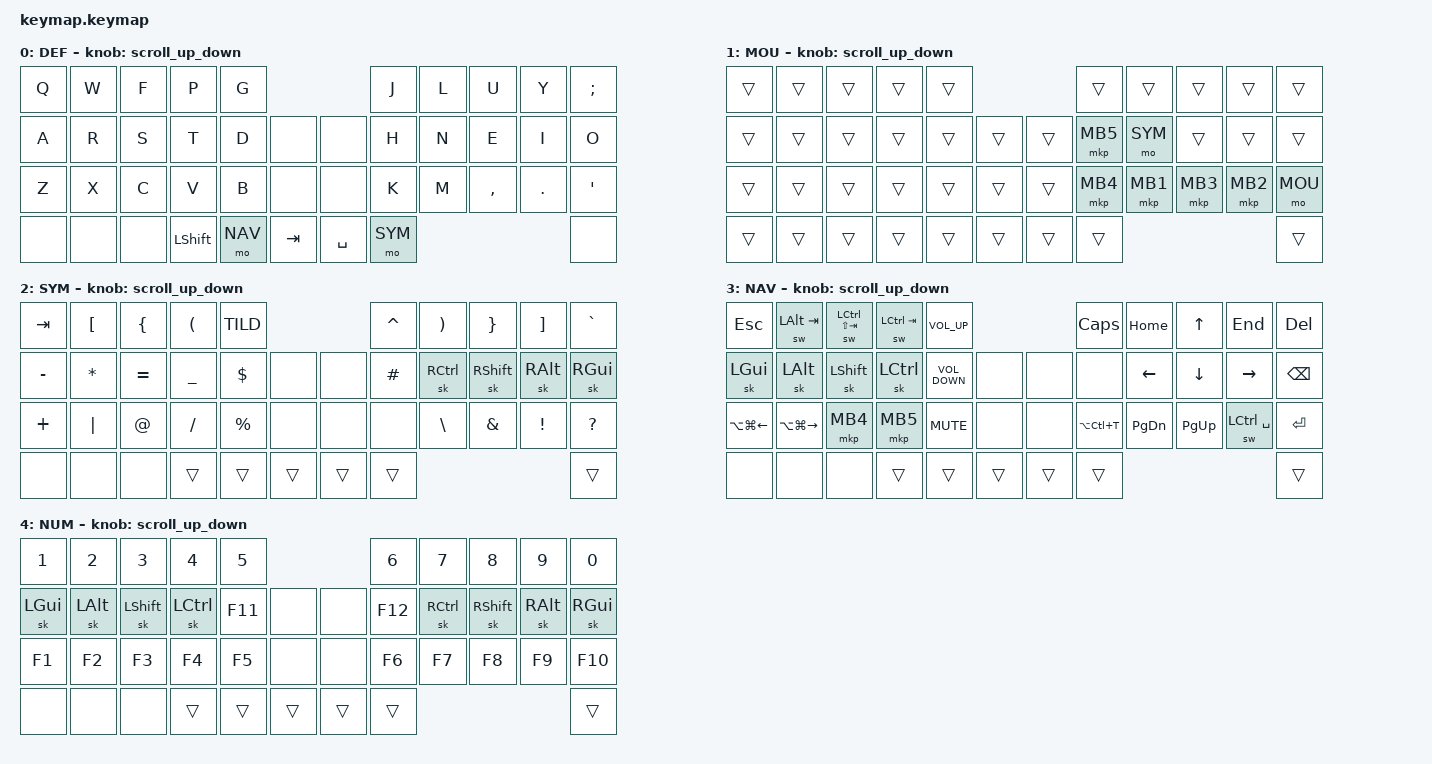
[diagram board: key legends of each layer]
#include <behaviors.dtsi>
#include <behaviors/swapper.dtsi>
#include <dt-bindings/zmk/bt.h>
#include <dt-bindings/zmk/keys.h>
#define ZMK_POINTING_DEFAULT_SCRL_VAL 100
#include <dt-bindings/zmk/pointing.h>
#include <dt-bindings/zmk/mouse.h>

#define DEF 0
#define MOU 1
#define SYM 2
#define NAV 3
#define NUM 4

/ {
    behaviors {
        scroll_up_down: behavior_sensor_rotate_mouse_wheel_up_down {
            compatible = "zmk,behavior-sensor-rotate";
            #sensor-binding-cells = <0>;
            bindings = <&msc SCRL_DOWN>, <&msc SCRL_UP>;
            tap-ms = <20>;
        };
    };

    keymap {
        compatible = "zmk,keymap";

        DEF {
            bindings = <
&kp Q       &kp W    &kp F             &kp P         &kp G                                                      &kp J          &kp L  &kp U      &kp Y       &kp SEMICOLON
&kp A       &kp R    &kp S             &kp T         &kp D         &none                 &none                  &kp H          &kp N  &kp E      &kp I       &kp O
&kp Z       &kp X    &kp C             &kp V         &kp B         &none                 &none                  &kp K          &kp M  &kp COMMA  &kp PERIOD  &kp SINGLE_QUOTE
&none       &none    &none             &kp LSHFT     &mo NAV       &kp TAB               &kp SPACE              &mo SYM                                      &none
            >;

            sensor-bindings = <&scroll_up_down>;
        };

        MOU { 
            bindings = <
&trans       &trans    &trans            &trans          &trans                                                        &trans          &trans        &trans      &trans          &trans
&trans       &trans    &trans            &trans          &trans         &trans                  &trans                 &mkp MB5        &mo SYM       &trans      &trans          &trans
&trans       &trans    &trans            &trans          &trans         &trans                  &trans                 &mkp MB4        &mkp MB1      &mkp MB3    &mkp MB2        &mo MOU
&trans       &trans    &trans            &trans          &trans         &trans                  &trans                 &trans                                                    &trans
            >;
            sensor-bindings = <&scroll_up_down>;
        };

        SYM {
            bindings = <
&kp TAB          &kp LBKT       &kp LBRC     &kp LPRN     &kp TILD                                           &kp CARET       &kp RPRN      &kp RBRC              &kp RBKT               &kp GRAVE
&kp MINUS        &kp ASTERISK   &kp EQUAL    &kp UNDER    &kp DLLR      &none             &none              &kp HASH        &sk RCTRL     &sk RSHFT             &sk RALT               &sk RGUI
&kp PLUS         &kp PIPE       &kp AT       &kp SLASH    &kp PERCENT   &none             &none              &none           &kp BACKSLASH &kp AMPERSAND         &kp EXCLAMATION        &kp QUESTION 
&none            &none          &none        &trans       &trans        &trans            &trans             &trans                                                                     &trans
            >;

            sensor-bindings = <&scroll_up_down>;
        };

        NAV {
            bindings = <
&kp ESCAPE       &sw LALT TAB      &sw LCTRL LS(TAB) &sw LCTRL TAB   &kp C_VOLUME_UP                                      &kp CAPSLOCK       &kp HOME         &kp UP        &kp END            &kp DELETE
&sk LGUI         &sk LALT          &sk LSHFT         &sk LCTRL       &kp C_VOLUME_DOWN    &none       &none               &none              &kp LEFT         &kp DOWN      &kp RIGHT          &kp BACKSPACE
&kp LA(LG(LEFT)) &kp LA(LG(RIGHT)) &mkp MB4          &mkp MB5        &kp C_MUTE           &none       &none               &kp LA(LC(T))      &kp PAGE_DOWN    &kp PAGE_UP   &sw LCTRL SPC      &kp ENTER 
&none            &none             &none             &trans          &trans               &trans      &trans              &trans                                                               &trans
            >;

            sensor-bindings = <&scroll_up_down>;
        };

        NUM {
            bindings = <
&kp N1           &kp N2            &kp N3            &kp N4          &kp N5                                               &kp N6        &kp N7        &kp N8        &kp N9        &kp N0
&sk LGUI         &sk LALT          &sk LSHFT         &sk LCTRL       &kp F11              &none       &none               &kp F12       &sk RCTRL     &sk RSHFT     &sk RALT      &sk RGUI
&kp F1           &kp F2            &kp F3            &kp F4          &kp F5               &none       &none               &kp F6        &kp F7        &kp F8        &kp F9        &kp F10
&none            &none             &none             &trans          &trans               &trans      &trans              &trans                                                  &trans
            >;

            sensor-bindings = <&scroll_up_down>;
        };
    };

    conditional_layers {
        compatible = "zmk,conditional-layers";
        tri_layer {
            if-layers = <2 3>;
            then-layer = <4>;
        };
    };
};
